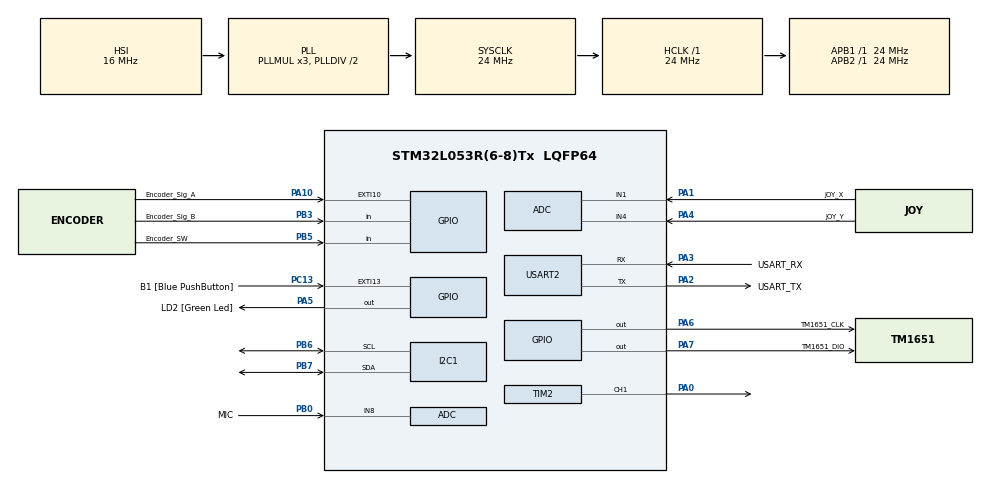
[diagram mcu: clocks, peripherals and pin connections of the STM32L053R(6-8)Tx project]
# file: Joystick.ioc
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ADC.ClockPrescaler=ADC_CLOCK_ASYNC_DIV64
ADC.ContinuousConvMode=ENABLE
ADC.DMAContinuousRequests=ENABLE
ADC.EOCSelection=ADC_EOC_SINGLE_CONV
ADC.SamplingTime=ADC_SAMPLETIME_3CYCLES_5
Dma.ADC.1.Direction=DMA_PERIPH_TO_MEMORY
Dma.ADC.1.Instance=DMA1_Channel1
Dma.ADC.1.MemDataAlignment=DMA_MDATAALIGN_HALFWORD
Dma.ADC.1.MemInc=DMA_MINC_ENABLE
Dma.ADC.1.Mode=DMA_NORMAL
Dma.ADC.1.PeriphDataAlignment=DMA_PDATAALIGN_HALFWORD
Dma.ADC.1.PeriphInc=DMA_PINC_DISABLE
Dma.ADC.1.Priority=DMA_PRIORITY_LOW
Dma.Request0=TIM2_CH1
Dma.Request1=ADC
Dma.TIM2_CH1.0.Direction=DMA_MEMORY_TO_PERIPH
Dma.TIM2_CH1.0.Instance=DMA1_Channel5
Dma.TIM2_CH1.0.MemDataAlignment=DMA_MDATAALIGN_HALFWORD
Dma.TIM2_CH1.0.MemInc=DMA_MINC_ENABLE
Dma.TIM2_CH1.0.Mode=DMA_NORMAL
Dma.TIM2_CH1.0.PeriphDataAlignment=DMA_PDATAALIGN_HALFWORD
Dma.TIM2_CH1.0.PeriphInc=DMA_PINC_DISABLE
Dma.TIM2_CH1.0.Priority=DMA_PRIORITY_LOW
I2C1.Timing=0x00805C87
Mcu.Family=STM32L0
Mcu.Name=STM32L053R(6-8)Tx
Mcu.Package=LQFP64
NVIC.ADC1_COMP_IRQn=true\:0\:0\:true\:false\:true\:true\:true\:true
NVIC.DMA1_Channel1_IRQn=true\:0\:0\:false\:false\:true\:false\:true\:true
NVIC.DMA1_Channel4_5_6_7_IRQn=true\:0\:0\:true\:false\:true\:false\:true\:true
NVIC.EXTI4_15_IRQn=true\:0\:0\:false\:false\:true\:true\:true\:true
PA0.Signal=S_TIM2_CH1
PA1.GPIO_Label=JOY_X
PA1.Mode=IN1
PA1.Signal=ADC_IN1
PA10.GPIO_Label=Encoder_Sig_A
PA10.GPIO_ModeDefaultEXTI=GPIO_MODE_IT_RISING_FALLING
PA10.Signal=GPXTI10
PA13.GPIO_Label=TMS
PA13.Mode=Serial_Wire
PA13.Signal=SYS_SWDIO
PA14.GPIO_Label=TCK
PA14.Mode=Serial_Wire
PA14.Signal=SYS_SWCLK
PA2.GPIO_Label=USART_TX
PA2.Mode=Asynchronous
PA2.Signal=USART2_TX
PA3.GPIO_Label=USART_RX
PA3.Mode=Asynchronous
PA3.Signal=USART2_RX
PA4.GPIO_Label=JOY_Y
PA4.Mode=IN4
PA4.Signal=ADC_IN4
PA5.GPIO_Label=LD2 [Green Led]
PA5.Signal=GPIO_Output
PA6.GPIO_Label=TM1651_CLK
PA6.GPIO_Speed=GPIO_SPEED_FREQ_VERY_HIGH
PA6.Signal=GPIO_Output
PA7.GPIO_Label=TM1651_DIO
PA7.GPIO_Speed=GPIO_SPEED_FREQ_VERY_HIGH
PA7.Signal=GPIO_Output
PB0.GPIO_Label=MIC
PB0.Mode=IN8
PB0.Signal=ADC_IN8
PB3.GPIO_Label=Encoder_Sig_B
PB3.Signal=GPIO_Input
PB5.GPIO_Label=Encoder_SW
PB5.Signal=GPIO_Input
PB6.Mode=I2C
PB6.Signal=I2C1_SCL
PB7.Mode=I2C
PB7.Signal=I2C1_SDA
PC13.GPIO_Label=B1 [Blue PushButton]
PC13.GPIO_ModeDefaultEXTI=GPIO_MODE_IT_FALLING
PC13.Signal=GPXTI13
PC14-OSC32_IN.Mode=LSE-External-Oscillator
PC14-OSC32_IN.Signal=RCC_OSC32_IN
PC15-OSC32_OUT.Mode=LSE-External-Oscillator
PC15-OSC32_OUT.Signal=RCC_OSC32_OUT
PH0-OSC_IN.Mode=HSE-External-Clock-Source
PH0-OSC_IN.Signal=RCC_OSC_IN
PH1-OSC_OUT.Signal=RCC_OSC_OUT
ProjectManager.HeapSize=0x200
ProjectManager.StackSize=0x400
ProjectManager.TargetToolchain=STM32CubeIDE
RCC.AHBFreq_Value=24000000
RCC.APB1Freq_Value=24000000
RCC.APB1TimFreq_Value=24000000
RCC.APB2Freq_Value=24000000
RCC.APB2TimFreq_Value=24000000
RCC.HCLKFreq_Value=24000000
RCC.HSE_VALUE=8000000
RCC.HSI16_VALUE=16000000
RCC.HSI48_VALUE=48000000
RCC.HSI_VALUE=16000000
RCC.MSI_VALUE=2097000
RCC.SYSCLKFreq_VALUE=24000000
RCC.SYSCLKSource=RCC_SYSCLKSOURCE_PLLCLK
RCC.VCOOutputFreq_Value=48000000
SH.S_TIM2_CH1.0=TIM2_CH1,PWM Generation1 CH1
TIM2.Channel-PWM\ Generation1\ CH1=TIM_CHANNEL_1
TIM2.Period=30-1
USART2.VirtualMode-Asynchronous=VM_ASYNC
VP_TIM2_VS_ClockSourceINT.Mode=Internal
VP_TIM2_VS_OPM.Mode=OPM_bit
board=NUCLEO-L053R8

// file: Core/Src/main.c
/* USER CODE BEGIN Header */
/**
 ******************************************************************************
 * @file           : main.c
 * @brief          : Main program body
 ******************************************************************************
 * @attention
 *
 * Copyright (c) 2025 STMicroelectronics.
 * All rights reserved.
 *
 * This software is licensed under terms that can be found in the LICENSE file
 * in the root directory of this software component.
 * If no LICENSE file comes with this software, it is provided AS-IS.
 *
 ******************************************************************************
 */
/* USER CODE END Header */
#include "main.h"

/* USER CODE BEGIN Includes */
#include <stdio.h>
#include "rotary_encoder.h"
#include "TM1651.h"
#include "ht16k33.h"
/* USER CODE END Includes */

/* USER CODE BEGIN PTD */
RotaryEncoder_t encoder;
TM1651 tm;
HT16K33_HandleTypeDef hdev;
/* USER CODE END PTD */

ADC_HandleTypeDef hadc;
DMA_HandleTypeDef hdma_adc;

I2C_HandleTypeDef hi2c1;

TIM_HandleTypeDef htim2;
DMA_HandleTypeDef hdma_tim2_ch1;

UART_HandleTypeDef huart2;

/* USER CODE BEGIN PV */

int8_t pos;
uint8_t sw_state_new, sw_state_old;
uint32_t t0_i2c_scan, t1_encoder_scan, t2_led_push, t3_led_toggle,
		t4_tm1651_run, t5_display_dot;
uint8_t level;
uint16_t adc_raw_joystick_x, adc_raw_joystick_y, adc_raw_mic;
uint16_t adc_raw[3];

// Bitmap data for smiley faces
static const uint8_t smile_bmp[] = { 0b00111100, 0b01000010, 0b10100101,
		0b10000001, 0b10100101, 0b10011001, 0b01000010, 0b00111100 };

static const uint8_t neutral_bmp[] = { 0b00111100, 0b01000010, 0b10100101,
		0b10000001, 0b10111101, 0b10000001, 0b01000010, 0b00111100 };

static const uint8_t frown_bmp[] = { 0b00111100, 0b01000010, 0b10100101,
		0b10000001, 0b10011001, 0b10100101, 0b01000010, 0b00111100 };
/* USER CODE END PV */

void SystemClock_Config(void);
static void MX_GPIO_Init(void);
static void MX_DMA_Init(void);
static void MX_USART2_UART_Init(void);
static void MX_I2C1_Init(void);
static void MX_TIM2_Init(void);
static void MX_ADC_Init(void);
/* USER CODE BEGIN PFP */
void I2C_Scan(void);

/* USER CODE END PFP */

/* USER CODE BEGIN 0 */
// Function to send data over UART (for debugging)
int __io_putchar(int ch) {
	HAL_UART_Transmit(&huart2, (uint8_t*) &ch, 1, HAL_MAX_DELAY);
	return ch;
}

/* USER CODE END 0 */

int main(void)
{

  /* MCU Configuration--------------------------------------------------------*/

  /* Reset of all peripherals, Initializes the Flash interface and the Systick. */
  HAL_Init();

  /* Configure the system clock */
  SystemClock_Config();

  /* Initialize all configured peripherals */
  MX_GPIO_Init();
  MX_DMA_Init();
  MX_USART2_UART_Init();
  MX_I2C1_Init();
  MX_TIM2_Init();
  MX_ADC_Init();
  /* USER CODE BEGIN 2 */
	RotaryEncoder_Init(&encoder, GPIOA, GPIO_PIN_10, GPIOB, GPIO_PIN_3, GPIOB,
	GPIO_PIN_5);
	pos = 0;
	// Initialize TM1651 with CLK on PA6 and DIO on PA7
	TM1651_Init(&tm, GPIOA, GPIO_PIN_6, GPIOA, GPIO_PIN_7);

	// Display level 5
	TM1651_DisplayLevel(&tm, 1);

	// Initialize HT16K33
	HT16K33_Init(&hdev, &hi2c1);

	// Draw a pattern on the LED matrix
	for (uint8_t i = 0; i < 8; i++) {
		HT16K33_DrawPixel(&hdev, i, i, true); // Diagonal line
	}
	HT16K33_WriteDisplay(&hdev);

  /* USER CODE END 2 */

  /* Infinite loop */
	while (1) {

    /* USER CODE BEGIN 3 */
		if (HAL_GetTick() > t0_i2c_scan) {
			t0_i2c_scan = HAL_GetTick() + 5000;
			//I2C_Scan();
		}
		if (HAL_GetTick() > t1_encoder_scan) {
			t1_encoder_scan = HAL_GetTick() + 50;
			sw_state_new = RotaryEncoder_ReadSwitch(&encoder);
			if (sw_state_old == GPIO_PIN_RESET
					&& sw_state_new == GPIO_PIN_SET) {
				printf("Button Pressed!\n");
			}
			sw_state_old = sw_state_new;

			if (encoder.direction != ROTARY_NONE) {
				printf("Encoder Direction: %s\n",
						encoder.direction == ROTARY_CW ? "CW" : "CCW");
				if (encoder.direction == ROTARY_CW) {
					if (++pos > 5)
						pos = 5;
					encoder.direction = ROTARY_NONE;
				} else {
					if (--pos < 0)
						pos = 0;
					encoder.direction = ROTARY_NONE;
				}
				printf("Encoder Pos: %d\n", pos);
			}
		}
		if (HAL_GetTick() > t2_led_push) {
			t2_led_push = HAL_GetTick() + 100;
			HAL_ADC_Start_DMA(&hadc, (uint32_t*) adc_raw, sizeof(adc_raw));
			printf("x:%d\ty:%d\tMIC:%d\n",adc_raw[0], adc_raw[1],adc_raw[2]);

		}
		if (HAL_GetTick() > t3_led_toggle) {
			t3_led_toggle = HAL_GetTick() + 200;
			HAL_GPIO_TogglePin(LD2_GPIO_Port, LD2_Pin);
		}
		if (HAL_GetTick() > t4_tm1651_run) {
			t4_tm1651_run = HAL_GetTick() + 1000;

			if (++level > 7)
				level = 0;
			TM1651_DisplayLevel(&tm, level);
		}
		if (HAL_GetTick() > t5_display_dot) {
			t5_display_dot = HAL_GetTick() + 250;
			static uint8_t i;
			if (++i > 16)
				i = 0;
			//DisplayBitmapWithRotate(smile_bmp, (pos>2)?1:-1); // Shift left
			HT16K33_DisplayBitmapWithRotate(&hdev, smile_bmp, 1); // Shift left
		}
	}
  /* USER CODE END 3 */
}

void SystemClock_Config(void)
{
  RCC_OscInitTypeDef RCC_OscInitStruct = {0};
  RCC_ClkInitTypeDef RCC_ClkInitStruct = {0};
  RCC_PeriphCLKInitTypeDef PeriphClkInit = {0};

  /** Configure the main internal regulator output voltage
  */
  __HAL_PWR_VOLTAGESCALING_CONFIG(PWR_REGULATOR_VOLTAGE_SCALE1);

  /** Initializes the RCC Oscillators according to the specified parameters
  * in the RCC_OscInitTypeDef structure.
  */
  RCC_OscInitStruct.OscillatorType = RCC_OSCILLATORTYPE_HSI;
  RCC_OscInitStruct.HSIState = RCC_HSI_ON;
  RCC_OscInitStruct.HSICalibrationValue = RCC_HSICALIBRATION_DEFAULT;
  RCC_OscInitStruct.PLL.PLLState = RCC_PLL_ON;
  RCC_OscInitStruct.PLL.PLLSource = RCC_PLLSOURCE_HSI;
  RCC_OscInitStruct.PLL.PLLMUL = RCC_PLLMUL_3;
  RCC_OscInitStruct.PLL.PLLDIV = RCC_PLLDIV_2;
  if (HAL_RCC_OscConfig(&RCC_OscInitStruct) != HAL_OK)
  {
    Error_Handler();
  }

  /** Initializes the CPU, AHB and APB buses clocks
  */
  RCC_ClkInitStruct.ClockType = RCC_CLOCKTYPE_HCLK|RCC_CLOCKTYPE_SYSCLK
                              |RCC_CLOCKTYPE_PCLK1|RCC_CLOCKTYPE_PCLK2;
  RCC_ClkInitStruct.SYSCLKSource = RCC_SYSCLKSOURCE_PLLCLK;
  RCC_ClkInitStruct.AHBCLKDivider = RCC_SYSCLK_DIV1;
  RCC_ClkInitStruct.APB1CLKDivider = RCC_HCLK_DIV1;
  RCC_ClkInitStruct.APB2CLKDivider = RCC_HCLK_DIV1;

  if (HAL_RCC_ClockConfig(&RCC_ClkInitStruct, FLASH_LATENCY_1) != HAL_OK)
  {
    Error_Handler();
  }
  PeriphClkInit.PeriphClockSelection = RCC_PERIPHCLK_USART2|RCC_PERIPHCLK_I2C1;
  PeriphClkInit.Usart2ClockSelection = RCC_USART2CLKSOURCE_PCLK1;
  PeriphClkInit.I2c1ClockSelection = RCC_I2C1CLKSOURCE_PCLK1;
  if (HAL_RCCEx_PeriphCLKConfig(&PeriphClkInit) != HAL_OK)
  {
    Error_Handler();
  }
}

static void MX_ADC_Init(void)
{

  ADC_ChannelConfTypeDef sConfig = {0};

  /** Configure the global features of the ADC (Clock, Resolution, Data Alignment and number of conversion)
  */
  hadc.Instance = ADC1;
  hadc.Init.OversamplingMode = DISABLE;
  hadc.Init.ClockPrescaler = ADC_CLOCK_ASYNC_DIV64;
  hadc.Init.Resolution = ADC_RESOLUTION_12B;
  hadc.Init.SamplingTime = ADC_SAMPLETIME_3CYCLES_5;
  hadc.Init.ScanConvMode = ADC_SCAN_DIRECTION_FORWARD;
  hadc.Init.DataAlign = ADC_DATAALIGN_RIGHT;
  hadc.Init.ContinuousConvMode = ENABLE;
  hadc.Init.DiscontinuousConvMode = DISABLE;
  hadc.Init.ExternalTrigConvEdge = ADC_EXTERNALTRIGCONVEDGE_NONE;
  hadc.Init.ExternalTrigConv = ADC_SOFTWARE_START;
  hadc.Init.DMAContinuousRequests = ENABLE;
  hadc.Init.EOCSelection = ADC_EOC_SINGLE_CONV;
  hadc.Init.Overrun = ADC_OVR_DATA_PRESERVED;
  hadc.Init.LowPowerAutoWait = DISABLE;
  hadc.Init.LowPowerFrequencyMode = ENABLE;
  hadc.Init.LowPowerAutoPowerOff = DISABLE;
  if (HAL_ADC_Init(&hadc) != HAL_OK)
  {
    Error_Handler();
  }

  /** Configure for the selected ADC regular channel to be converted.
  */
  sConfig.Channel = ADC_CHANNEL_1;
  sConfig.Rank = ADC_RANK_CHANNEL_NUMBER;
  if (HAL_ADC_ConfigChannel(&hadc, &sConfig) != HAL_OK)
  {
    Error_Handler();
  }

  /** Configure for the selected ADC regular channel to be converted.
  */
  sConfig.Channel = ADC_CHANNEL_4;
  if (HAL_ADC_ConfigChannel(&hadc, &sConfig) != HAL_OK)
  {
    Error_Handler();
  }

  /** Configure for the selected ADC regular channel to be converted.
  */
  sConfig.Channel = ADC_CHANNEL_8;
  if (HAL_ADC_ConfigChannel(&hadc, &sConfig) != HAL_OK)
  {
    Error_Handler();
  }

}

static void MX_I2C1_Init(void)
{

  hi2c1.Instance = I2C1;
  hi2c1.Init.Timing = 0x00805C87;
  hi2c1.Init.OwnAddress1 = 0;
  hi2c1.Init.AddressingMode = I2C_ADDRESSINGMODE_7BIT;
  hi2c1.Init.DualAddressMode = I2C_DUALADDRESS_DISABLE;
  hi2c1.Init.OwnAddress2 = 0;
  hi2c1.Init.OwnAddress2Masks = I2C_OA2_NOMASK;
  hi2c1.Init.GeneralCallMode = I2C_GENERALCALL_DISABLE;
  hi2c1.Init.NoStretchMode = I2C_NOSTRETCH_DISABLE;
  if (HAL_I2C_Init(&hi2c1) != HAL_OK)
  {
    Error_Handler();
  }

  /** Configure Analogue filter
  */
  if (HAL_I2CEx_ConfigAnalogFilter(&hi2c1, I2C_ANALOGFILTER_ENABLE) != HAL_OK)
  {
    Error_Handler();
  }

  /** Configure Digital filter
  */
  if (HAL_I2CEx_ConfigDigitalFilter(&hi2c1, 0) != HAL_OK)
  {
    Error_Handler();
  }

}

static void MX_TIM2_Init(void)
{

  TIM_ClockConfigTypeDef sClockSourceConfig = {0};
  TIM_MasterConfigTypeDef sMasterConfig = {0};
  TIM_OC_InitTypeDef sConfigOC = {0};

  htim2.Instance = TIM2;
  htim2.Init.Prescaler = 0;
  htim2.Init.CounterMode = TIM_COUNTERMODE_UP;
  htim2.Init.Period = 30-1;
  htim2.Init.ClockDivision = TIM_CLOCKDIVISION_DIV1;
  htim2.Init.AutoReloadPreload = TIM_AUTORELOAD_PRELOAD_DISABLE;
  if (HAL_TIM_Base_Init(&htim2) != HAL_OK)
  {
    Error_Handler();
  }
  sClockSourceConfig.ClockSource = TIM_CLOCKSOURCE_INTERNAL;
  if (HAL_TIM_ConfigClockSource(&htim2, &sClockSourceConfig) != HAL_OK)
  {
    Error_Handler();
  }
  if (HAL_TIM_PWM_Init(&htim2) != HAL_OK)
  {
    Error_Handler();
  }
  if (HAL_TIM_OnePulse_Init(&htim2, TIM_OPMODE_SINGLE) != HAL_OK)
  {
    Error_Handler();
  }
  sMasterConfig.MasterOutputTrigger = TIM_TRGO_RESET;
  sMasterConfig.MasterSlaveMode = TIM_MASTERSLAVEMODE_DISABLE;
  if (HAL_TIMEx_MasterConfigSynchronization(&htim2, &sMasterConfig) != HAL_OK)
  {
    Error_Handler();
  }
  sConfigOC.OCMode = TIM_OCMODE_PWM1;
  sConfigOC.Pulse = 0;
  sConfigOC.OCPolarity = TIM_OCPOLARITY_HIGH;
  sConfigOC.OCFastMode = TIM_OCFAST_DISABLE;
  if (HAL_TIM_PWM_ConfigChannel(&htim2, &sConfigOC, TIM_CHANNEL_1) != HAL_OK)
  {
    Error_Handler();
  }
  HAL_TIM_MspPostInit(&htim2);

}

static void MX_USART2_UART_Init(void)
{

  huart2.Instance = USART2;
  huart2.Init.BaudRate = 115200;
  huart2.Init.WordLength = UART_WORDLENGTH_8B;
  huart2.Init.StopBits = UART_STOPBITS_1;
  huart2.Init.Parity = UART_PARITY_NONE;
  huart2.Init.Mode = UART_MODE_TX_RX;
  huart2.Init.HwFlowCtl = UART_HWCONTROL_NONE;
  huart2.Init.OverSampling = UART_OVERSAMPLING_16;
  huart2.Init.OneBitSampling = UART_ONE_BIT_SAMPLE_DISABLE;
  huart2.AdvancedInit.AdvFeatureInit = UART_ADVFEATURE_NO_INIT;
  if (HAL_UART_Init(&huart2) != HAL_OK)
  {
    Error_Handler();
  }

}

static void MX_DMA_Init(void)
{

  /* DMA controller clock enable */
  __HAL_RCC_DMA1_CLK_ENABLE();

  /* DMA interrupt init */
  /* DMA1_Channel1_IRQn interrupt configuration */
  HAL_NVIC_SetPriority(DMA1_Channel1_IRQn, 0, 0);
  HAL_NVIC_EnableIRQ(DMA1_Channel1_IRQn);
  /* DMA1_Channel4_5_6_7_IRQn interrupt configuration */
  HAL_NVIC_SetPriority(DMA1_Channel4_5_6_7_IRQn, 0, 0);
  HAL_NVIC_EnableIRQ(DMA1_Channel4_5_6_7_IRQn);

}

static void MX_GPIO_Init(void)
{
  GPIO_InitTypeDef GPIO_InitStruct = {0};

  /* GPIO Ports Clock Enable */
  __HAL_RCC_GPIOC_CLK_ENABLE();
  __HAL_RCC_GPIOH_CLK_ENABLE();
  __HAL_RCC_GPIOA_CLK_ENABLE();
  __HAL_RCC_GPIOB_CLK_ENABLE();

  /*Configure GPIO pin Output Level */
  HAL_GPIO_WritePin(GPIOA, LD2_Pin|TM1651_CLK_Pin|TM1651_DIO_Pin, GPIO_PIN_RESET);

  /*Configure GPIO pin : B1_Pin */
  GPIO_InitStruct.Pin = B1_Pin;
  GPIO_InitStruct.Mode = GPIO_MODE_IT_FALLING;
  GPIO_InitStruct.Pull = GPIO_NOPULL;
  HAL_GPIO_Init(B1_GPIO_Port, &GPIO_InitStruct);

  /*Configure GPIO pin : LD2_Pin */
  GPIO_InitStruct.Pin = LD2_Pin;
  GPIO_InitStruct.Mode = GPIO_MODE_OUTPUT_PP;
  GPIO_InitStruct.Pull = GPIO_NOPULL;
  GPIO_InitStruct.Speed = GPIO_SPEED_FREQ_LOW;
  HAL_GPIO_Init(LD2_GPIO_Port, &GPIO_InitStruct);

  /*Configure GPIO pins : TM1651_CLK_Pin TM1651_DIO_Pin */
  GPIO_InitStruct.Pin = TM1651_CLK_Pin|TM1651_DIO_Pin;
  GPIO_InitStruct.Mode = GPIO_MODE_OUTPUT_PP;
  GPIO_InitStruct.Pull = GPIO_NOPULL;
  GPIO_InitStruct.Speed = GPIO_SPEED_FREQ_VERY_HIGH;
  HAL_GPIO_Init(GPIOA, &GPIO_InitStruct);

  /*Configure GPIO pin : Encoder_Sig_A_Pin */
  GPIO_InitStruct.Pin = Encoder_Sig_A_Pin;
  GPIO_InitStruct.Mode = GPIO_MODE_IT_RISING_FALLING;
  GPIO_InitStruct.Pull = GPIO_NOPULL;
  HAL_GPIO_Init(Encoder_Sig_A_GPIO_Port, &GPIO_InitStruct);

  /*Configure GPIO pins : Encoder_Sig_B_Pin Encoder_SW_Pin */
  GPIO_InitStruct.Pin = Encoder_Sig_B_Pin|Encoder_SW_Pin;
  GPIO_InitStruct.Mode = GPIO_MODE_INPUT;
  GPIO_InitStruct.Pull = GPIO_NOPULL;
  HAL_GPIO_Init(GPIOB, &GPIO_InitStruct);

  /* EXTI interrupt init*/
  HAL_NVIC_SetPriority(EXTI4_15_IRQn, 0, 0);
  HAL_NVIC_EnableIRQ(EXTI4_15_IRQn);

}

/* USER CODE BEGIN 4 */
// I2C Scanner Function using HAL_I2C_Master_Transmit
void I2C_Scan() {
	printf("\r\nStarting I2C Scan...\r\n");

	uint8_t dummy_data = 0x00; // Dummy data for transmission

	for (uint8_t address = 1; address < 127; address++) {
		uint8_t i2cAddress = address << 1; // Convert to 8-bit format for HAL

		HAL_StatusTypeDef result = HAL_I2C_Master_Transmit(&hi2c1, i2cAddress,
				&dummy_data, 1, 10);

		if (result == HAL_OK) {
			printf("I2C device found at address: 0x%02X\r\n", address);
		}
	}
	printf("I2C Scan Complete.\r\n");
}

//ADC Callback function
void HAL_ADC_ConvCpltCallback(ADC_HandleTypeDef *hadc) {
	HAL_ADC_Stop_DMA(hadc);
}
/* USER CODE END 4 */

void Error_Handler(void)
{
	__disable_irq();
	while (1) {
	}
}
